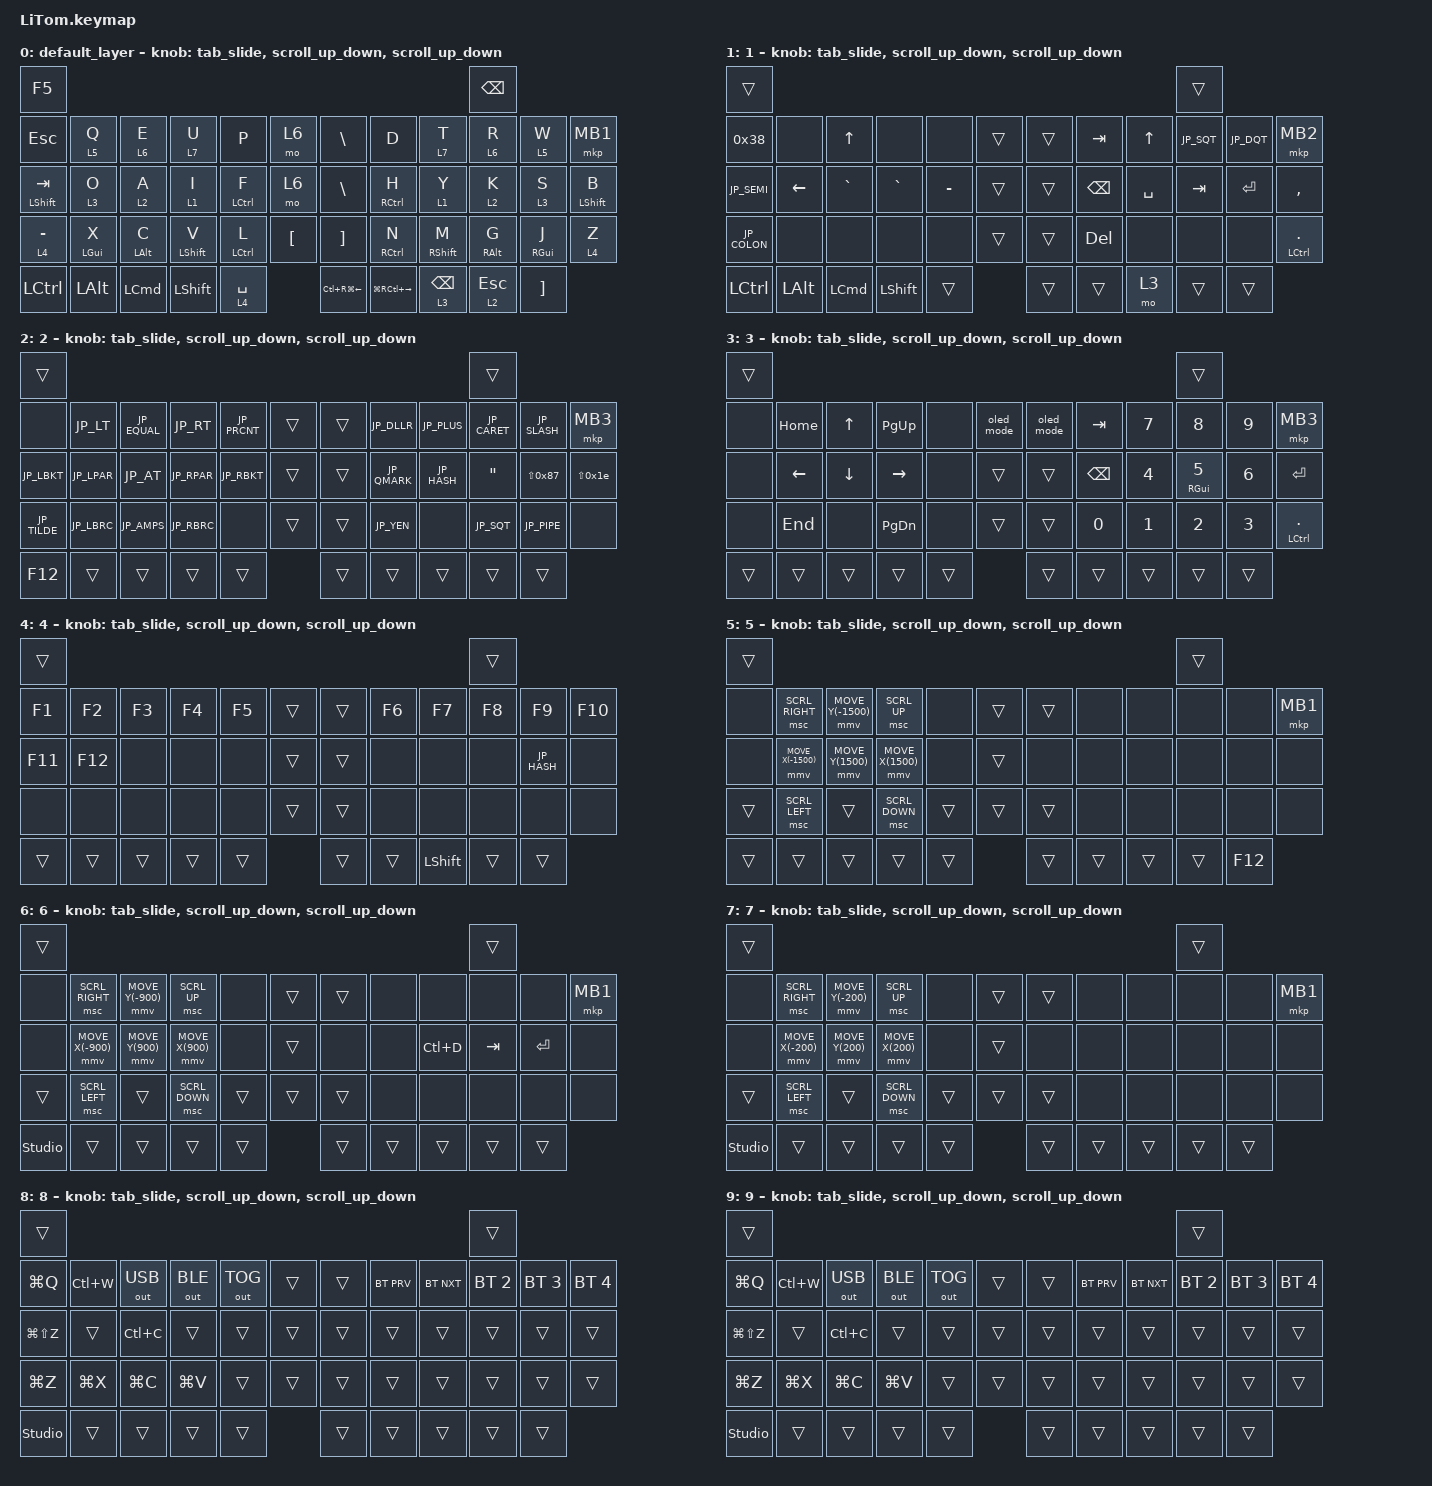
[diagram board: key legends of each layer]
#include <behaviors.dtsi>
#include <dt-bindings/zmk/bt.h>
#include <dt-bindings/zmk/keys.h>
#include <dt-bindings/zmk/outputs.h>
#include <dt-bindings/zmk/pointing.h>
#include <zephyr/dt-bindings/input/input-event-codes.h>
#include <input/processors/runtime-input-processor.dtsi>
#include <behaviors/runtime-sensor-rotate.dtsi>
#include "keycode_japanese.h"

// #undef ZMK_POINTING_DEFAULT_SCRL_VAL
#define ZMK_POINTING_DEFAULT_SCRL_VAL 80


&msc {
    acceleration-exponent = <0>;      // 0
    time-to-max-speed-ms = <0>;       // 300
    delay-ms = <0>;                   // 0
};

&mmv {
    time-to-max-speed-ms = <0>;
    acceleration-exponent = <0>;
    trigger-period-ms = <10>;
    delay-ms = <0>;
};

&mt { 
    flavor = "balanced"; 
    tapping-term-ms = <200>;
    quick-tap-ms = <150>; 
};

&lt {
    flavor = "balanced";
    tapping-term-ms = <200>; 
    quick-tap-ms = <150>; 
};

    // 0                                         1
    // 2  3  4  5  6  7         8  9  10 11 12 13
    // 14 15 16 17 18 19        20 21 22 23 24 25
    // 26 27 28 29 30 31        32 33 34 35 36 37
    // 38 39 40 41 42 43        44 45       46 47




/ {
    combos {
        compatible = "zmk,combos";

      lang {
            bindings = <&kp GRAVE>;
            key-positions = <3 5>;
            layers = <0>;
            timeout-ms = <200>;
        };

        fopen {
            bindings = <&kp LG(N2)>;
            key-positions = <9 13>;
            layers = <0>;
            timeout-ms = <200>;
        };

       bootloader_R {
            bindings = <&bootloader>;
            key-positions = <1 8 44 47>;
            timeout-ms = <200>;
        };

       bootloader_L {
            bindings = <&bootloader>;
            key-positions = <0 7 38 43>;
            timeout-ms = <200>;
        };

        eq {
            bindings = <&bt BT_CLR_ALL>;
            key-positions = <2 14 26>;
            timeout-ms = <50>;
            layers = <0>;
        };

        bt0 {
            bindings = <&bt BT_SEL 0>;
            key-positions = <8 20 32>;
            timeout-ms = <50>;
            layers = <0>;
        };

        bt1 {
            bindings = <&bt BT_SEL 1>;
            key-positions = <9 21 33>;
            layers = <0>;
        };

        bt2 {
            bindings = <&bt BT_SEL 2>;
            key-positions = <10 22 34>;
            layers = <0>;
        };

        mute {
            bindings = <&kp C_MUTE>;
            key-positions = <17 18>;
            layers = <0>;
        };

        vup {
            bindings = <&kp C_VOL_UP>;
            key-positions = <5 6>;
            layers = <0>;
        };

        vdn {
            bindings = <&kp C_VOL_DN>;
            key-positions = <29 30>;
            layers = <0>;
        };

        printscreen {
            bindings = <&kp PSCRN>;
            key-positions = <27 29>;
            layers = <0>;
        };


        space {
            bindings = <&kp SPACE>;
            key-positions = <14 18>;
            layers = <0>;
        };


    };

};




/ {
    behaviors {
        scroll_up_down: behavior_sensor_rotate_mouse_wheel_up_down {
            compatible = "zmk,behavior-runtime-sensor-rotate";
            label = "ENCODER_MSC_DOWN_UP";
            #sensor-binding-cells = <0>;
            cw-binding = <&msc SCRL_DOWN>;
            ccw-binding = <&msc SCRL_UP>;
            tap-ms = <20>;
        };

        tab_slide: behavior_sensor_rotate_tab_slide {
            compatible = "zmk,behavior-runtime-sensor-rotate";
            label = "ENCODER_TAB_SLIDE";
            #sensor-binding-cells = <0>;
            cw-binding = <&kp LA(LG(RIGHT_ARROW))>;
            ccw-binding = <&kp LA(LG(LEFT_ARROW))>;
            tap-ms = <20>;
        };
    };

    keymap: keymap {
        compatible = "zmk,keymap";

        default_layer {
            bindings = <
&kp F5                                                                &kp BACKSPACE
&kp ESCAPE      &lt 5 Q    &lt 6 E    &lt 7 U       &kp P               &mo 6                      &kp BACKSLASH      &kp D        &lt 7 T       &lt 6 R     &lt 5 W     &mkp MB1
&mt LSHIFT TAB  &lt 3 O    &lt 2 A    &lt 1 I       &mt LCTRL F        &mo 6                      &kp BACKSLASH      &mt RCTRL H  &lt 1 Y       &lt 2 K     &lt 3 S     &mt LEFT_SHIFT B
&lt 4 MINUS     &mt LGUI X &mt LALT C &mt LSHIFT V  &mt LCTRL L        &kp LEFT_BRACKET           &kp RIGHT_BRACKET  &mt RCTRL N  &mt RSHIFT M  &mt RALT G  &mt RGUI J  &lt 4 Z
&kp LCTRL  &kp LEFT_ALT  &kp LEFT_COMMAND  &kp LEFT_SHIFT  &lt 4 SPACE  &kp LC(RG(LEFT))             &kp LG(RC(RIGHT))          &lt 3 BACKSPACE                         &lt 2 ESCAPE  &kp RIGHT_BRACKET
            >;

            sensor-bindings = <
                &tab_slide
                &scroll_up_down
                &scroll_up_down
            >;
        };

              1 {
            bindings = <
&trans                                                                                                                       &trans
&kp 0x38      &none      &kp UP     &none      &none               &trans      &trans          &kp TAB        &kp UP     &kp JP_SQT  &kp JP_DQT  &mkp MB2
&kp JP_SEMI   &kp LEFT   &kp GRAVE  &kp GRAVE  &kp MINUS           &trans      &trans          &kp BACKSPACE  &kp SPACE  &kp TAB     &kp ENTER   &kp COMMA
&kp JP_COLON  &none      &none      &none      &none               &trans      &trans          &kp DELETE     &none      &none       &none       &mt LCTRL PERIOD
&kp LCTRL  &kp LEFT_ALT  &kp LEFT_COMMAND  &kp LEFT_SHIFT  &trans  &trans      &trans  &mo 3                       &trans    &trans
            >;

            sensor-bindings = <
                &tab_slide
                &scroll_up_down
                &scroll_up_down
            >;
        };

        2 {
            bindings = <
&trans                                                                                          &trans
&none        &kp JP_LT      &kp JP_EQUAL   &kp JP_RT    &kp JP_PRCNT       &trans      &trans          &kp JP_DLLR   &kp JP_PLUS  &kp JP_CARET      &kp JP_SLASH  &mkp MB3
&kp JP_LBKT  &kp JP_LPAR    &kp JP_AT      &kp JP_RPAR  &kp JP_RBKT        &trans      &trans          &kp JP_QMARK  &kp JP_HASH  &kp DOUBLE_QUOTES &kp LS(0x87)  &kp LS(0x1e)
&kp JP_TILDE &kp JP_LBRC    &kp JP_AMPS    &kp JP_RBRC  &none              &trans      &trans          &kp JP_YEN    &none        &kp JP_SQT        &kp JP_PIPE   &none
&kp F12     &trans  &trans  &trans  &trans  &trans      &trans  &trans                  &trans  &trans
            >;

            sensor-bindings = <
                &tab_slide
                &scroll_up_down
                &scroll_up_down
            >;
        };

        3 {
            bindings = <
&trans                                                                                                                                                                                 &trans
&none        &kp HOME   &kp UP     &kp PAGE_UP      &none                 &oled_mode      &oled_mode          &kp TAB          &kp N7          &kp N8        &kp N9         &mkp MB3
&none        &kp LEFT   &kp DOWN   &kp RIGHT        &none                    &trans      &trans               &kp BACKSPACE  &kp N4          &mt RGUI N5        &kp N6         &kp ENTER
&none        &kp END    &none      &kp PAGE_DOWN    &none                    &trans      &trans               &kp N0         &kp N1          &kp N2        &kp N3         &mt LCTRL PERIOD
&trans     &trans                  &trans          &trans                   &trans             &trans      &trans  &trans                                         &trans               &trans
            >;

            sensor-bindings = <
                &tab_slide
                &scroll_up_down
                &scroll_up_down
            >;
        };

        4 {
            bindings = <
&trans                                                                                                                                                                  &trans
&kp F1   &kp F2    &kp F3  &kp F4  &kp F5                                     &trans      &trans             &kp F6  &kp F7  &kp F8  &kp F9       &kp F10
&kp F11  &kp F12   &none   &none   &none                                      &trans      &trans              &none   &none   &none   &kp JP_HASH  &none
&none    &none     &none   &none   &none                                      &trans      &trans             &none   &none   &none   &none        &none
&trans                   &trans        &trans        &trans                &trans        &trans      &trans  &kp LEFT_SHIFT                               &trans        &trans
            >;

            sensor-bindings = <
                &tab_slide
                &scroll_up_down
                &scroll_up_down
            >;
        };

        5 {
            bindings = <
&trans                                                                                       &trans
&none   &msc SCRL_RIGHT    &mmv MOVE_Y(-1500)  &msc SCRL_UP       &none           &trans      &trans &none   &none  &none  &none  &mkp MB1
&none   &mmv MOVE_X(-1500) &mmv MOVE_Y(1500)   &mmv MOVE_X(1500)  &none           &trans      &none  &none   &none  &none  &none  &none
&trans  &msc SCRL_LEFT     &trans              &msc SCRL_DOWN     &trans           &trans      &trans   &none   &none  &none  &none  &none
&trans  &trans  &trans  &trans  &trans  &trans      &trans   &trans                  &trans  &kp F12
            >;

            sensor-bindings = <
                &tab_slide
                &scroll_up_down
                &scroll_up_down
            >;
        };

        6 {
            bindings = <
&trans                                                                                                                                      &trans
&none   &msc SCRL_RIGHT    &mmv MOVE_Y(-900)  &msc SCRL_UP       &none           &trans      &trans &none   &none  &none  &none  &mkp MB1
&none   &mmv MOVE_X(-900) &mmv MOVE_Y(900)   &mmv MOVE_X(900)  &none           &trans      &none  &none   &kp LC(D) &kp TAB  &kp ENTER &none
&trans  &msc SCRL_LEFT     &trans              &msc SCRL_DOWN     &trans           &trans      &trans   &none   &none  &none  &none  &none
&studio_unlock &trans     &trans     &trans     &trans  &trans      &trans  &trans                                &trans        &trans
            >;

            sensor-bindings = <
                &tab_slide
                &scroll_up_down
                &scroll_up_down
            >;
        };


        7 {
            bindings = <
&trans                                                                                                                                      &trans
&none   &msc SCRL_RIGHT    &mmv MOVE_Y(-200)  &msc SCRL_UP       &none           &trans      &trans &none   &none  &none  &none  &mkp MB1
&none   &mmv MOVE_X(-200) &mmv MOVE_Y(200)   &mmv MOVE_X(200)  &none           &trans      &none  &none   &none  &none  &none  &none
&trans  &msc SCRL_LEFT     &trans              &msc SCRL_DOWN     &trans           &trans      &trans   &none   &none  &none  &none  &none
&studio_unlock &trans     &trans     &trans     &trans  &trans      &trans  &trans                                &trans        &trans
            >;

            sensor-bindings = <
                &tab_slide
                &scroll_up_down
                &scroll_up_down
            >;
        };

        8 {
            bindings = <
&trans                                                                                                                                      &trans
&kp LG(Q)      &kp LC(W)  &out OUT_USB  &out OUT_BLE  &out OUT_TOG  &trans      &trans  &bt BT_PRV  &bt BT_NXT  &bt BT_SEL 2  &bt BT_SEL 3  &bt BT_SEL 4
&kp LG(LS(Z))  &trans     &kp LC(C)  &trans     &trans  &trans      &trans  &trans      &trans      &trans        &trans        &trans
&kp LG(Z)      &kp LG(X)  &kp LG(C)  &kp LG(V)  &trans  &trans      &trans  &trans      &trans      &trans        &trans        &trans
&studio_unlock &trans     &trans     &trans     &trans  &trans      &trans  &trans                                &trans        &trans
            >;

            sensor-bindings = <
                &tab_slide
                &scroll_up_down
                &scroll_up_down
            >;
        };

        9 {
            bindings = <
&trans                                                                                                                                      &trans
&kp LG(Q)      &kp LC(W)  &out OUT_USB  &out OUT_BLE  &out OUT_TOG  &trans      &trans  &bt BT_PRV  &bt BT_NXT  &bt BT_SEL 2  &bt BT_SEL 3  &bt BT_SEL 4
&kp LG(LS(Z))  &trans     &kp LC(C)  &trans     &trans  &trans      &trans  &trans      &trans      &trans        &trans        &trans
&kp LG(Z)      &kp LG(X)  &kp LG(C)  &kp LG(V)  &trans  &trans      &trans  &trans      &trans      &trans        &trans        &trans
&studio_unlock &trans     &trans     &trans     &trans  &trans      &trans  &trans                                &trans        &trans
            >;

            sensor-bindings = <
                &tab_slide
                &scroll_up_down
                &scroll_up_down
            >;
        };







    };
};
